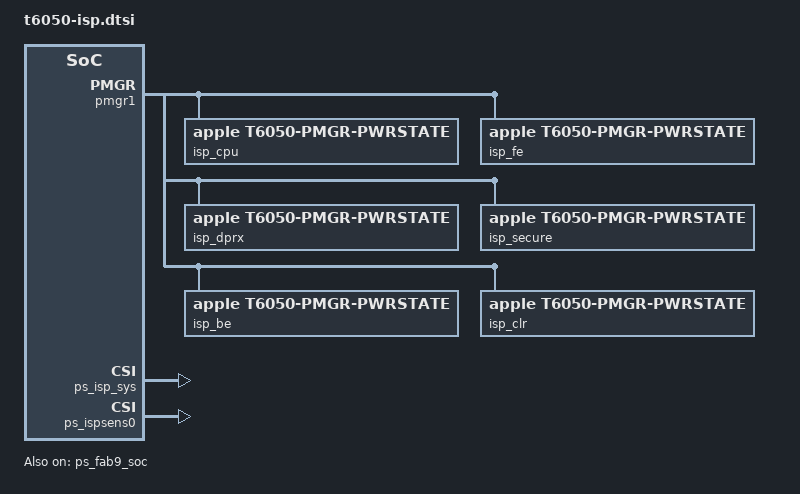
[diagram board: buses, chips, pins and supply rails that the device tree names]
// SPDX-License-Identifier: GPL-2.0+ OR MIT
/*
 * The T6050 laptop camera (ISP, its three DARTs and power states). Every T6050
 * laptop's ADT has the same isp0, dart-isp0 and ISP power states; only the
 * sensor-type differs per board. The loader reads that sensor-type, reserves the
 * firmware segments and enables isp0 and its three DARTs; until then those stay
 * disabled. The ISP power states are not left to the loader: every board that
 * includes this file registers them, keeps FAB9 as a firmware-owned vote and
 * holds ISP_SYS on from boot, as the J714s, J716c and K116s already do. The
 * per-block states (CPU, FE, DPRX, SECURE, BE, CLR, SENS0) have no consumer
 * until the ISP driver probes. The sensor presets are a default a board may
 * replace.
 */
/ {
	aliases {
		isp = &isp0;
		isp-dart0 = &isp0_dart;
		isp-dart1 = &isp0_dart1;
		isp-dart2 = &isp0_dart2;
	};
};

&isp0 {
	/delete-property/ clocks;
	compatible = "apple,t6050-isp", "apple,isp";
	reg = <0x5 0x80000000 0 0x1604000>,
	      <0x5 0x82924000 0 0x40>,
	      <0x5 0x829241d0 0 0x20>,
	      <0x5 0x82924464 0 0x10>,
	      <0x5 0xc3b50000 0 0x8000>;
	reg-names = "coproc", "mbox", "gpio", "mbox2", "wdt";
	interrupts = <AIC_IRQ 0 513 IRQ_TYPE_LEVEL_HIGH>;
	iommus = <&isp0_dart 0>, <&isp0_dart 12>,
		 <&isp0_dart1 0>, <&isp0_dart1 12>,
		 <&isp0_dart2 0>, <&isp0_dart2 12>;
	power-domains = <&ps_isp_sys>, <&ps_isp_cpu>, <&ps_isp_fe>,
			<&ps_ispsens0>, <&ps_isp_dprx>, <&ps_isp_secure>,
			<&ps_isp_be>, <&ps_isp_clr>;
	apple,dart-vm-size = /bits/ 64 <0xde000000>;
	status = "disabled";
	sensor-presets {
		preset0 {
			apple,config-index = <5>;
			apple,input-size = <1920 2160>;
			apple,output-size = <1920 1080>;
			apple,crop = <0 0 1920 1080>;
		};
	};
};

&isp0_dart {
	compatible = "apple,t6050-isp-dart", "apple,t8110-dart";
	reg = <0x5 0x828c0000 0 0xc000>, <0x5 0x828d0000 0 0x4000>;
	reg-names = "dart", "dapf";
	#iommu-cells = <1>;
	interrupts = <AIC_IRQ 0 531 IRQ_TYPE_LEVEL_HIGH>;
	power-domains = <&ps_isp_sys>;
	apple,remap-streams = <1 0>, <6 0>, <7 0>, <10 0>, <11 0>;
	status = "disabled";
};

&isp0_dart1 {
	compatible = "apple,t6050-isp-dart", "apple,t8110-dart";
	reg = <0x5 0x828e0000 0 0xc000>;
	reg-names = "dart";
	#iommu-cells = <1>;
	interrupts = <AIC_IRQ 0 531 IRQ_TYPE_LEVEL_HIGH>;
	power-domains = <&ps_isp_sys>;
	apple,remap-streams = <1 0>, <6 0>, <7 0>, <10 0>, <11 0>;
	status = "disabled";
};

&isp0_dart2 {
	compatible = "apple,t6050-isp-dart", "apple,t8110-dart";
	reg = <0x5 0x82900000 0 0xc000>;
	reg-names = "dart";
	#iommu-cells = <1>;
	interrupts = <AIC_IRQ 0 531 IRQ_TYPE_LEVEL_HIGH>;
	power-domains = <&ps_isp_sys>;
	apple,remap-streams = <1 0>, <6 0>, <7 0>, <10 0>, <11 0>;
	status = "disabled";
};

&pmgr1 {
	ps_isp_cpu: power-controller@3b0 {
		compatible = "apple,t6050-pmgr-pwrstate", "apple,t8103-pmgr-pwrstate";
		reg = <0x3b0 4>;
		#power-domain-cells = <0>;
		#reset-cells = <0>;
		label = "isp_cpu";
		apple,no-auto-pm;
		power-domains = <&ps_isp_sys>;
	};
	ps_isp_fe: power-controller@3b8 {
		compatible = "apple,t6050-pmgr-pwrstate", "apple,t8103-pmgr-pwrstate";
		reg = <0x3b8 4>;
		#power-domain-cells = <0>;
		#reset-cells = <0>;
		label = "isp_fe";
		apple,no-auto-pm;
		power-domains = <&ps_isp_sys>;
	};
	ps_isp_dprx: power-controller@3d8 {
		compatible = "apple,t6050-pmgr-pwrstate", "apple,t8103-pmgr-pwrstate";
		reg = <0x3d8 4>;
		#power-domain-cells = <0>;
		#reset-cells = <0>;
		label = "isp_dprx";
		apple,no-auto-pm;
		power-domains = <&ps_isp_sys>;
	};
	ps_isp_secure: power-controller@3e0 {
		compatible = "apple,t6050-pmgr-pwrstate", "apple,t8103-pmgr-pwrstate";
		reg = <0x3e0 4>;
		#power-domain-cells = <0>;
		#reset-cells = <0>;
		label = "isp_secure";
		apple,no-auto-pm;
		power-domains = <&ps_isp_sys>;
	};
	ps_isp_be: power-controller@3e8 {
		compatible = "apple,t6050-pmgr-pwrstate", "apple,t8103-pmgr-pwrstate";
		reg = <0x3e8 4>;
		#power-domain-cells = <0>;
		#reset-cells = <0>;
		label = "isp_be";
		apple,no-auto-pm;
		power-domains = <&ps_isp_sys>;
	};
	ps_isp_clr: power-controller@3f0 {
		compatible = "apple,t6050-pmgr-pwrstate", "apple,t8103-pmgr-pwrstate";
		reg = <0x3f0 4>;
		#power-domain-cells = <0>;
		#reset-cells = <0>;
		label = "isp_clr";
		apple,no-auto-pm;
		power-domains = <&ps_isp_sys>;
	};
};

&ps_fab9_soc {
	/delete-property/ power-domains;
	apple,no-auto-pm;
	apple,firmware-owned;
	status = "okay";
};

&ps_isp_sys {
	apple,no-auto-pm;
	apple,always-on;
	status = "okay";
};

&ps_ispsens0 {
	apple,no-auto-pm;
	status = "okay";
};
